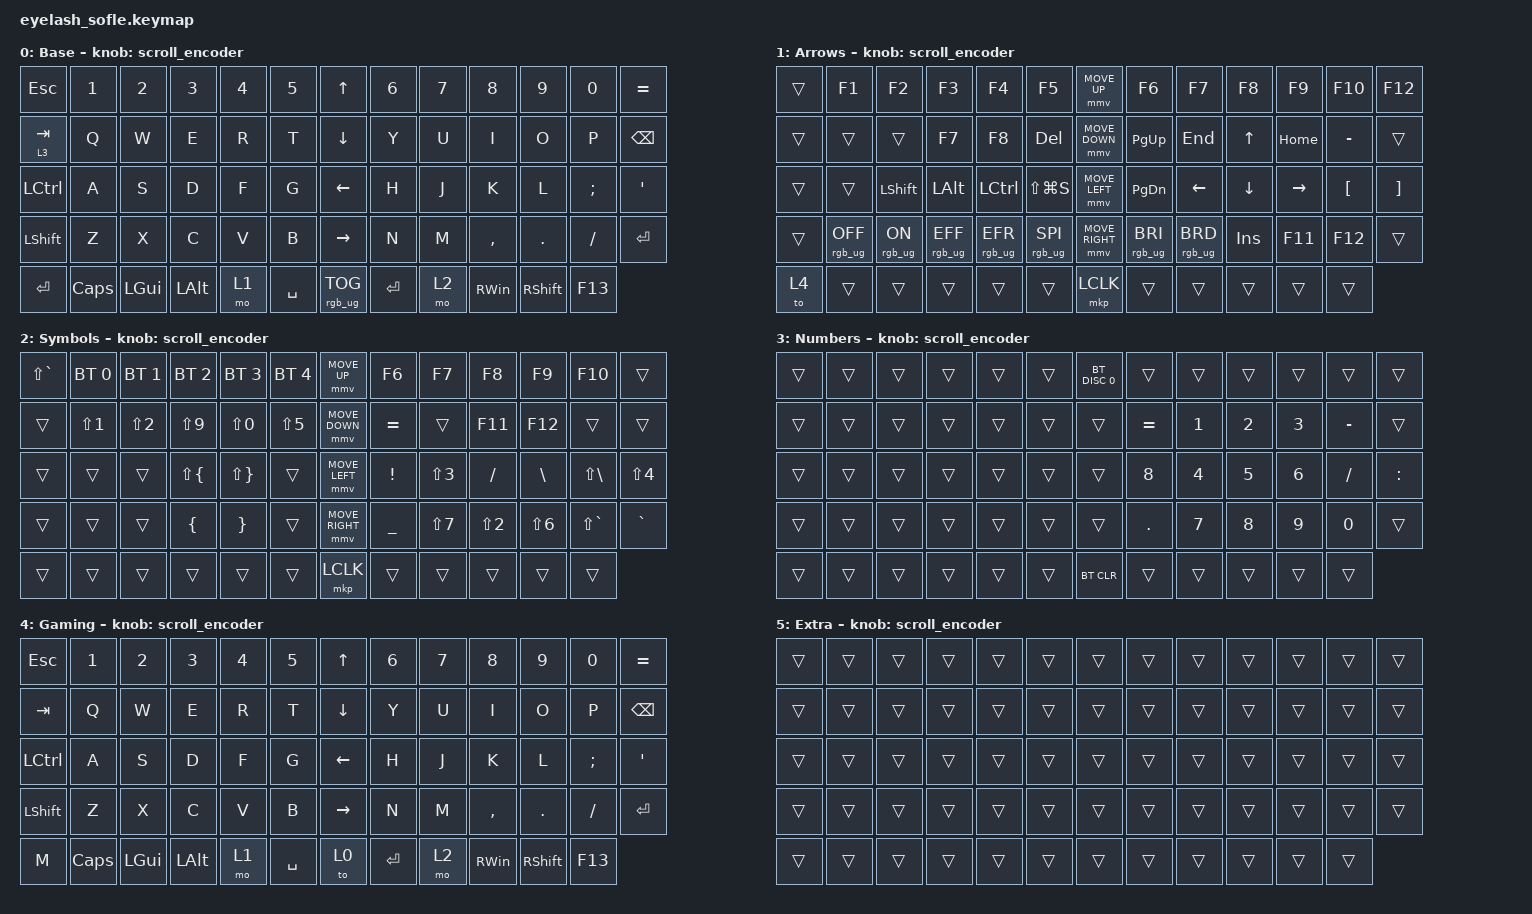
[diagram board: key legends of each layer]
#define ZMK_POINTING_DEFAULT_MOVE_VAL 1200  // 600
#define ZMK_POINTING_DEFAULT_SCRL_VAL 25   // 10

#include <input/processors.dtsi>
#include <zephyr/dt-bindings/input/input-event-codes.h>
#include <behaviors.dtsi>
#include <dt-bindings/zmk/bt.h>
#include <dt-bindings/zmk/keys.h>
#include <dt-bindings/zmk/pointing.h>
#include <dt-bindings/zmk/rgb.h>

&mmv_input_listener { input-processors = <&zip_xy_scaler 2 1>; };

&msc_input_listener { input-processors = <&zip_scroll_scaler 2 1>; };

&msc {
    acceleration-exponent = <1>;      // 0
    time-to-max-speed-ms = <100>;       // 300
    delay-ms = <0>;                   // 0
};

&mmv {
    time-to-max-speed-ms = <500>;
    acceleration-exponent = <1>;
    trigger-period-ms = <16>;
};

&soft_off { hold-time-ms = <2000>; };

/ {
    scroll_encoder: scroll_encoder {
        compatible = "zmk,behavior-sensor-rotate";
        #sensor-binding-cells = <0>;
        bindings = <&msc SCRL_DOWN>, <&msc SCRL_UP>;

        tap-ms = <100>;
    };

    behaviors {
    };

    combos {
        compatible = "zmk,combos";

        softoff {
            bindings = <&soft_off>;
            key-positions = <14 28 40>;
        };
    };

    keymap {
        compatible = "zmk,keymap";

        Base {
            bindings = <
&kp ESCAPE        &kp N1        &kp N2        &kp N3        &kp N4  &kp N5       &kp UP_ARROW     &kp N6     &kp N7  &kp N8         &kp N9           &kp N0    &kp EQUAL
&lt 3 TAB         &kp Q         &kp W         &kp E         &kp R   &kp T        &kp DOWN_ARROW   &kp Y      &kp U   &kp I          &kp O            &kp P     &kp BACKSPACE
&kp LEFT_CONTROL  &kp A         &kp S         &kp D         &kp F   &kp G        &kp LEFT_ARROW   &kp H      &kp J   &kp K          &kp L            &kp SEMI  &kp APOS
&kp LSHFT         &kp Z         &kp X         &kp C         &kp V   &kp B        &kp RIGHT_ARROW  &kp N      &kp M   &kp COMMA      &kp DOT          &kp FSLH  &kp ENTER
&kp ENTER         &kp CAPSLOCK  &kp LEFT_GUI  &kp LEFT_ALT  &mo 1   &kp SPACE    &rgb_ug RGB_TOG  &kp ENTER  &mo 2   &kp RIGHT_WIN  &kp RIGHT_SHIFT  &kp F13
            >;

            sensor-bindings = <&scroll_encoder>;
            display-name = "Base";
        };

        Arrows {
            bindings = <
&trans  &kp F1           &kp F2          &kp F3           &kp F4            &kp F5             &mmv MOVE_UP     &kp F6           &kp F7           &kp F8      &kp F9     &kp F10           &kp F12
&trans  &trans           &trans          &kp F7           &kp F8            &kp DEL            &mmv MOVE_DOWN   &kp PG_UP        &kp END          &kp UP      &kp HOME   &kp MINUS         &trans
&trans  &trans           &kp LEFT_SHIFT  &kp LEFT_ALT     &kp LEFT_CONTROL  &kp LS(LG(S))      &mmv MOVE_LEFT   &kp PG_DN        &kp LEFT         &kp DOWN    &kp RIGHT  &kp LEFT_BRACKET  &kp RIGHT_BRACKET
&trans  &rgb_ug RGB_OFF  &rgb_ug RGB_ON  &rgb_ug RGB_EFF  &rgb_ug RGB_EFR   &rgb_ug RGB_SPI    &mmv MOVE_RIGHT  &rgb_ug RGB_BRI  &rgb_ug RGB_BRD  &kp INSERT  &kp F11    &kp F12           &trans
&to 4   &trans           &trans          &trans           &trans            &trans             &mkp LCLK        &trans           &trans           &trans      &trans     &trans
            >;

            display-name = "Arrows";
            sensor-bindings = <&scroll_encoder>;
        };

        Symbols {
            bindings = <
&kp LS(GRAVE)  &bt BT_SEL 0      &bt BT_SEL 1      &bt BT_SEL 2        &bt BT_SEL 3         &bt BT_SEL 4        &mmv MOVE_UP     &kp F6     &kp F7            &kp F8            &kp F9            &kp F10            &trans
&trans         &kp LS(NUMBER_1)  &kp LS(NUMBER_2)  &kp LS(NUMBER_9)    &kp LS(NUMBER_0)     &kp LS(NUMBER_5)    &mmv MOVE_DOWN   &kp EQUAL  &trans            &kp F11           &kp F12           &trans             &trans
&trans         &trans            &trans            &kp LS(LEFT_BRACE)  &kp LS(RIGHT_BRACE)  &trans              &mmv MOVE_LEFT   &kp EXCL   &kp LS(NUMBER_3)  &kp SLASH         &kp BACKSLASH     &kp LS(BACKSLASH)  &kp LS(NUMBER_4)
&trans         &trans            &trans            &kp LEFT_BRACE      &kp RIGHT_BRACE      &trans              &mmv MOVE_RIGHT  &kp UNDER  &kp LS(NUMBER_7)  &kp LS(NUMBER_2)  &kp LS(NUMBER_6)  &kp LS(GRAVE)      &kp GRAVE
&trans         &trans            &trans            &trans              &trans               &trans              &mkp LCLK        &trans     &trans            &trans            &trans            &trans
            >;

            display-name = "Symbols";
            sensor-bindings = <&scroll_encoder>;
        };

        Numbers {
            bindings = <
&trans  &trans  &trans  &trans  &trans  &trans    &bt BT_DISC 0  &trans     &trans  &trans  &trans  &trans     &trans
&trans  &trans  &trans  &trans  &trans  &trans    &trans         &kp EQUAL  &kp N1  &kp N2  &kp N3  &kp MINUS  &trans
&trans  &trans  &trans  &trans  &trans  &trans    &trans         &kp N8     &kp N4  &kp N5  &kp N6  &kp FSLH   &kp COLON
&trans  &trans  &trans  &trans  &trans  &trans    &trans         &kp DOT    &kp N7  &kp N8  &kp N9  &kp N0     &trans
&trans  &trans  &trans  &trans  &trans  &trans    &bt BT_CLR     &trans     &trans  &trans  &trans  &trans
            >;

            display-name = "Numbers";
            sensor-bindings = <&scroll_encoder>;
        };

        Gaming {
            display-name = "Gaming";
            bindings = <
&kp ESCAPE        &kp N1        &kp N2        &kp N3        &kp N4  &kp N5       &kp UP_ARROW     &kp N6     &kp N7  &kp N8         &kp N9           &kp N0    &kp EQUAL
&kp TAB           &kp Q         &kp W         &kp E         &kp R   &kp T        &kp DOWN_ARROW   &kp Y      &kp U   &kp I          &kp O            &kp P     &kp BACKSPACE
&kp LEFT_CONTROL  &kp A         &kp S         &kp D         &kp F   &kp G        &kp LEFT_ARROW   &kp H      &kp J   &kp K          &kp L            &kp SEMI  &kp APOS
&kp LSHFT         &kp Z         &kp X         &kp C         &kp V   &kp B        &kp RIGHT_ARROW  &kp N      &kp M   &kp COMMA      &kp DOT          &kp FSLH  &kp ENTER
&kp M             &kp CAPSLOCK  &kp LEFT_GUI  &kp LEFT_ALT  &mo 1   &kp SPACE    &to 0            &kp ENTER  &mo 2   &kp RIGHT_WIN  &kp RIGHT_SHIFT  &kp F13
            >;

            sensor-bindings = <&scroll_encoder>;
        };

        Extra {
            bindings = <
&trans  &trans  &trans  &trans  &trans  &trans    &trans  &trans  &trans  &trans  &trans  &trans  &trans
&trans  &trans  &trans  &trans  &trans  &trans    &trans  &trans  &trans  &trans  &trans  &trans  &trans
&trans  &trans  &trans  &trans  &trans  &trans    &trans  &trans  &trans  &trans  &trans  &trans  &trans
&trans  &trans  &trans  &trans  &trans  &trans    &trans  &trans  &trans  &trans  &trans  &trans  &trans
&trans  &trans  &trans  &trans  &trans  &trans    &trans  &trans  &trans  &trans  &trans  &trans
            >;

            sensor-bindings = <&scroll_encoder>;
        };
    };
};
